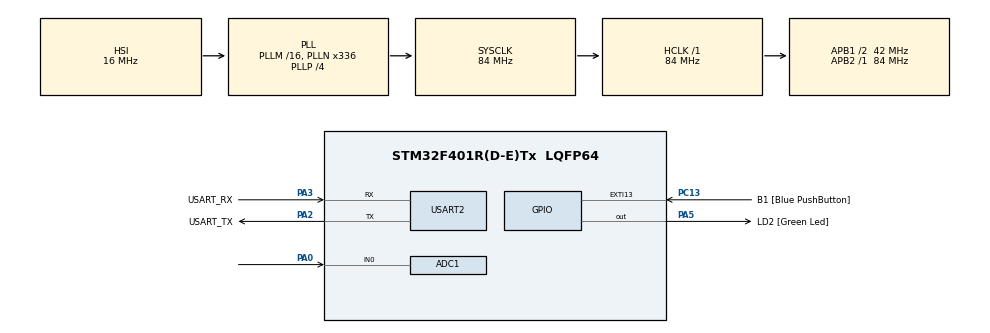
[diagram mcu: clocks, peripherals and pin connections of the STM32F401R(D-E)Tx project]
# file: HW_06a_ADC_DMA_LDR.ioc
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ADC1.Channel-0\#ChannelRegularConversion=ADC_CHANNEL_0
ADC1.DMAContinuousRequests=ENABLE
ADC1.ExternalTrigConv=ADC_EXTERNALTRIGCONV_T2_TRGO
ADC1.NbrOfConversionFlag=1
ADC1.Rank-0\#ChannelRegularConversion=1
ADC1.SamplingTime-0\#ChannelRegularConversion=ADC_SAMPLETIME_480CYCLES
ADC1.master=1
Dma.ADC1.0.Direction=DMA_PERIPH_TO_MEMORY
Dma.ADC1.0.FIFOMode=DMA_FIFOMODE_DISABLE
Dma.ADC1.0.Instance=DMA2_Stream0
Dma.ADC1.0.MemDataAlignment=DMA_MDATAALIGN_HALFWORD
Dma.ADC1.0.MemInc=DMA_MINC_ENABLE
Dma.ADC1.0.Mode=DMA_CIRCULAR
Dma.ADC1.0.PeriphDataAlignment=DMA_PDATAALIGN_HALFWORD
Dma.ADC1.0.PeriphInc=DMA_PINC_DISABLE
Dma.ADC1.0.Priority=DMA_PRIORITY_HIGH
Dma.Request0=ADC1
Dma.Request1=USART2_TX
Dma.USART2_TX.1.Direction=DMA_MEMORY_TO_PERIPH
Dma.USART2_TX.1.FIFOMode=DMA_FIFOMODE_DISABLE
Dma.USART2_TX.1.Instance=DMA1_Stream6
Dma.USART2_TX.1.MemDataAlignment=DMA_MDATAALIGN_BYTE
Dma.USART2_TX.1.MemInc=DMA_MINC_ENABLE
Dma.USART2_TX.1.Mode=DMA_NORMAL
Dma.USART2_TX.1.PeriphDataAlignment=DMA_PDATAALIGN_BYTE
Dma.USART2_TX.1.PeriphInc=DMA_PINC_DISABLE
Dma.USART2_TX.1.Priority=DMA_PRIORITY_HIGH
Mcu.Family=STM32F4
Mcu.Name=STM32F401R(D-E)Tx
Mcu.Package=LQFP64
NVIC.ADC_IRQn=true\:0\:0\:false\:false\:true\:true\:true\:true
NVIC.DMA1_Stream6_IRQn=true\:0\:0\:false\:false\:true\:false\:true\:true
NVIC.DMA2_Stream0_IRQn=true\:0\:0\:false\:false\:true\:false\:true\:true
NVIC.PriorityGroup=NVIC_PRIORITYGROUP_0
NVIC.USART2_IRQn=true\:0\:0\:false\:false\:true\:true\:true\:true
PA0-WKUP.Signal=ADCx_IN0
PA13.GPIO_Label=TMS
PA13.Mode=Serial_Wire
PA13.Signal=SYS_JTMS-SWDIO
PA14.GPIO_Label=TCK
PA14.Mode=Serial_Wire
PA14.Signal=SYS_JTCK-SWCLK
PA2.GPIO_Label=USART_TX
PA2.GPIO_Mode=GPIO_MODE_AF_PP
PA2.GPIO_PuPd=GPIO_NOPULL
PA2.GPIO_Speed=GPIO_SPEED_FREQ_LOW
PA2.Mode=Asynchronous
PA2.Signal=USART2_TX
PA3.GPIO_Label=USART_RX
PA3.GPIO_Mode=GPIO_MODE_AF_PP
PA3.GPIO_PuPd=GPIO_NOPULL
PA3.GPIO_Speed=GPIO_SPEED_FREQ_LOW
PA3.Mode=Asynchronous
PA3.Signal=USART2_RX
PA5.GPIO_Label=LD2 [Green Led]
PA5.GPIO_Mode=GPIO_MODE_OUTPUT_PP
PA5.GPIO_PuPd=GPIO_NOPULL
PA5.GPIO_Speed=GPIO_SPEED_FREQ_LOW
PA5.Signal=GPIO_Output
PB3.GPIO_Label=SWO
PB3.Signal=SYS_JTDO-SWO
PC13-ANTI_TAMP.GPIO_Label=B1 [Blue PushButton]
PC13-ANTI_TAMP.GPIO_ModeDefaultEXTI=GPIO_MODE_IT_FALLING
PC13-ANTI_TAMP.GPIO_PuPd=GPIO_NOPULL
PC13-ANTI_TAMP.Signal=GPXTI13
PC14-OSC32_IN.Mode=LSE-External-Oscillator
PC14-OSC32_IN.Signal=RCC_OSC32_IN
PC15-OSC32_OUT.Mode=LSE-External-Oscillator
PC15-OSC32_OUT.Signal=RCC_OSC32_OUT
PH0\ -\ OSC_IN.Mode=HSE-External-Clock-Source
PH0\ -\ OSC_IN.Signal=RCC_OSC_IN
PH1\ -\ OSC_OUT.Mode=HSE-External-Clock-Source
PH1\ -\ OSC_OUT.Signal=RCC_OSC_OUT
ProjectManager.HeapSize=0x200
ProjectManager.StackSize=0x400
ProjectManager.TargetToolchain=STM32CubeIDE
RCC.48MHZClocksFreq_Value=48000000
RCC.AHBFreq_Value=84000000
RCC.APB1CLKDivider=RCC_HCLK_DIV2
RCC.APB1Freq_Value=42000000
RCC.APB1TimFreq_Value=84000000
RCC.APB2Freq_Value=84000000
RCC.APB2TimFreq_Value=84000000
RCC.CortexFreq_Value=84000000
RCC.HCLKFreq_Value=84000000
RCC.HSE_VALUE=8000000
RCC.HSI_VALUE=16000000
RCC.PLLN=336
RCC.PLLP=RCC_PLLP_DIV4
RCC.PLLQ=7
RCC.SYSCLKFreq_VALUE=84000000
RCC.SYSCLKSource=RCC_SYSCLKSOURCE_PLLCLK
RCC.VCOOutputFreq_Value=336000000
SH.ADCx_IN0.0=ADC1_IN0,IN0
TIM2.Period=10-1
TIM2.Prescaler=8400-1
TIM2.TIM_MasterOutputTrigger=TIM_TRGO_UPDATE
USART2.VirtualMode=VM_ASYNC
VP_TIM2_VS_ClockSourceINT.Mode=Internal
board=NUCLEO-F401RE

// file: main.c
/* USER CODE BEGIN Header */
/**
  ******************************************************************************
  * @file           : main.c
  * @brief          : Main program body
  ******************************************************************************
  * @attention
  *
  * Copyright (c) 2024 STMicroelectronics.
  * All rights reserved.
  *
  * This software is licensed under terms that can be found in the LICENSE file
  * in the root directory of this software component.
  * If no LICENSE file comes with this software, it is provided AS-IS.
  *
  ******************************************************************************
  */
/* USER CODE END Header */
#include "main.h"

/* USER CODE BEGIN Includes */

#include "string.h"
#include "stdio.h"
#include "math.h"

/* USER CODE END Includes */

/* USER CODE BEGIN PD */

#define ACQUISITIONS 1000
#define LSB 3.3/4096.0
#define STR_LEN 64

/* USER CODE END PD */

ADC_HandleTypeDef hadc1;
DMA_HandleTypeDef hdma_adc1;

TIM_HandleTypeDef htim2;

UART_HandleTypeDef huart2;
DMA_HandleTypeDef hdma_usart2_tx;

/* USER CODE BEGIN PV */

uint16_t digital_data[ACQUISITIONS];		//store all ldr values sampled every ms
uint32_t digital_sum1 = 0;					//store sum of 1st 500 samples
uint32_t digital_sum2 = 0;					//store sum of 2nd 500 samples
uint32_t digital_average = 0;				//store ldr average value
float analog_voltage = 0;					//store analog voltage value (average)
float ldr = 0;	// in kOhm
float lux = 0;	// in lx
char string[STR_LEN];
int length;

/* USER CODE END PV */

void SystemClock_Config(void);
static void MX_GPIO_Init(void);
static void MX_DMA_Init(void);
static void MX_USART2_UART_Init(void);
static void MX_ADC1_Init(void);
static void MX_TIM2_Init(void);

/* USER CODE BEGIN 0 */

void HAL_ADC_ConvHalfCpltCallback (ADC_HandleTypeDef *hadc) {
	if (hadc == &hadc1) {
		digital_sum1 = 0;
		for (int i = 0; i < ACQUISITIONS/2; i++) {	//process here the 1st 500 samples
			digital_sum1 += digital_data[i];
		}
	}
}

void HAL_ADC_ConvCpltCallback (ADC_HandleTypeDef *hadc) {
	if (hadc == &hadc1) {
		digital_sum2 = 0;
		for (int i = ACQUISITIONS/2; i < ACQUISITIONS; i++) {	//process here the 2nd 500 samples
			digital_sum2 += digital_data[i];
		}
		digital_average = (digital_sum1 + digital_sum2)/ACQUISITIONS;	//compute the average
		analog_voltage = LSB*digital_average;
		ldr = (analog_voltage*100)/(3.3-analog_voltage);	//conversion V -> kOhm
		lux = 10*powf((100/ldr), 1.25);					    //conversion kOhm -> lx
		length = snprintf(string, sizeof(string), "LDR: %.3fkOhm  LUX: %.3flx\n", ldr, lux);
		HAL_UART_Transmit_DMA(&huart2, string, length);
	}
}

/* USER CODE END 0 */

int main(void)
{

  /* MCU Configuration--------------------------------------------------------*/

  /* Reset of all peripherals, Initializes the Flash interface and the Systick. */
  HAL_Init();

  /* Configure the system clock */
  SystemClock_Config();

  /* Initialize all configured peripherals */
  MX_GPIO_Init();
  MX_DMA_Init();
  MX_USART2_UART_Init();
  MX_ADC1_Init();
  MX_TIM2_Init();
  /* USER CODE BEGIN 2 */
  HAL_ADC_Start_DMA(&hadc1, digital_data, ACQUISITIONS);
  HAL_TIM_Base_Start(&htim2);
  /* USER CODE END 2 */

  /* Infinite loop */
  while (1)
  {

  }
}

void SystemClock_Config(void)
{
  RCC_OscInitTypeDef RCC_OscInitStruct = {0};
  RCC_ClkInitTypeDef RCC_ClkInitStruct = {0};

  /** Configure the main internal regulator output voltage
  */
  __HAL_RCC_PWR_CLK_ENABLE();
  __HAL_PWR_VOLTAGESCALING_CONFIG(PWR_REGULATOR_VOLTAGE_SCALE2);

  /** Initializes the RCC Oscillators according to the specified parameters
  * in the RCC_OscInitTypeDef structure.
  */
  RCC_OscInitStruct.OscillatorType = RCC_OSCILLATORTYPE_HSI;
  RCC_OscInitStruct.HSIState = RCC_HSI_ON;
  RCC_OscInitStruct.HSICalibrationValue = RCC_HSICALIBRATION_DEFAULT;
  RCC_OscInitStruct.PLL.PLLState = RCC_PLL_ON;
  RCC_OscInitStruct.PLL.PLLSource = RCC_PLLSOURCE_HSI;
  RCC_OscInitStruct.PLL.PLLM = 16;
  RCC_OscInitStruct.PLL.PLLN = 336;
  RCC_OscInitStruct.PLL.PLLP = RCC_PLLP_DIV4;
  RCC_OscInitStruct.PLL.PLLQ = 7;
  if (HAL_RCC_OscConfig(&RCC_OscInitStruct) != HAL_OK)
  {
    Error_Handler();
  }

  /** Initializes the CPU, AHB and APB buses clocks
  */
  RCC_ClkInitStruct.ClockType = RCC_CLOCKTYPE_HCLK|RCC_CLOCKTYPE_SYSCLK
                              |RCC_CLOCKTYPE_PCLK1|RCC_CLOCKTYPE_PCLK2;
  RCC_ClkInitStruct.SYSCLKSource = RCC_SYSCLKSOURCE_PLLCLK;
  RCC_ClkInitStruct.AHBCLKDivider = RCC_SYSCLK_DIV1;
  RCC_ClkInitStruct.APB1CLKDivider = RCC_HCLK_DIV2;
  RCC_ClkInitStruct.APB2CLKDivider = RCC_HCLK_DIV1;

  if (HAL_RCC_ClockConfig(&RCC_ClkInitStruct, FLASH_LATENCY_2) != HAL_OK)
  {
    Error_Handler();
  }
}

static void MX_ADC1_Init(void)
{

  ADC_ChannelConfTypeDef sConfig = {0};

  /** Configure the global features of the ADC (Clock, Resolution, Data Alignment and number of conversion)
  */
  hadc1.Instance = ADC1;
  hadc1.Init.ClockPrescaler = ADC_CLOCK_SYNC_PCLK_DIV4;
  hadc1.Init.Resolution = ADC_RESOLUTION_12B;
  hadc1.Init.ScanConvMode = DISABLE;
  hadc1.Init.ContinuousConvMode = DISABLE;
  hadc1.Init.DiscontinuousConvMode = DISABLE;
  hadc1.Init.ExternalTrigConvEdge = ADC_EXTERNALTRIGCONVEDGE_RISING;
  hadc1.Init.ExternalTrigConv = ADC_EXTERNALTRIGCONV_T2_TRGO;
  hadc1.Init.DataAlign = ADC_DATAALIGN_RIGHT;
  hadc1.Init.NbrOfConversion = 1;
  hadc1.Init.DMAContinuousRequests = ENABLE;
  hadc1.Init.EOCSelection = ADC_EOC_SINGLE_CONV;
  if (HAL_ADC_Init(&hadc1) != HAL_OK)
  {
    Error_Handler();
  }

  /** Configure for the selected ADC regular channel its corresponding rank in the sequencer and its sample time.
  */
  sConfig.Channel = ADC_CHANNEL_0;
  sConfig.Rank = 1;
  sConfig.SamplingTime = ADC_SAMPLETIME_480CYCLES;
  if (HAL_ADC_ConfigChannel(&hadc1, &sConfig) != HAL_OK)
  {
    Error_Handler();
  }

}

static void MX_TIM2_Init(void)
{

  TIM_ClockConfigTypeDef sClockSourceConfig = {0};
  TIM_MasterConfigTypeDef sMasterConfig = {0};

  htim2.Instance = TIM2;
  htim2.Init.Prescaler = 8400-1;
  htim2.Init.CounterMode = TIM_COUNTERMODE_UP;
  htim2.Init.Period = 10-1;
  htim2.Init.ClockDivision = TIM_CLOCKDIVISION_DIV1;
  htim2.Init.AutoReloadPreload = TIM_AUTORELOAD_PRELOAD_DISABLE;
  if (HAL_TIM_Base_Init(&htim2) != HAL_OK)
  {
    Error_Handler();
  }
  sClockSourceConfig.ClockSource = TIM_CLOCKSOURCE_INTERNAL;
  if (HAL_TIM_ConfigClockSource(&htim2, &sClockSourceConfig) != HAL_OK)
  {
    Error_Handler();
  }
  sMasterConfig.MasterOutputTrigger = TIM_TRGO_UPDATE;
  sMasterConfig.MasterSlaveMode = TIM_MASTERSLAVEMODE_DISABLE;
  if (HAL_TIMEx_MasterConfigSynchronization(&htim2, &sMasterConfig) != HAL_OK)
  {
    Error_Handler();
  }

}

static void MX_USART2_UART_Init(void)
{

  huart2.Instance = USART2;
  huart2.Init.BaudRate = 115200;
  huart2.Init.WordLength = UART_WORDLENGTH_8B;
  huart2.Init.StopBits = UART_STOPBITS_1;
  huart2.Init.Parity = UART_PARITY_NONE;
  huart2.Init.Mode = UART_MODE_TX_RX;
  huart2.Init.HwFlowCtl = UART_HWCONTROL_NONE;
  huart2.Init.OverSampling = UART_OVERSAMPLING_16;
  if (HAL_UART_Init(&huart2) != HAL_OK)
  {
    Error_Handler();
  }

}

static void MX_DMA_Init(void)
{

  /* DMA controller clock enable */
  __HAL_RCC_DMA2_CLK_ENABLE();
  __HAL_RCC_DMA1_CLK_ENABLE();

  /* DMA interrupt init */
  /* DMA1_Stream6_IRQn interrupt configuration */
  HAL_NVIC_SetPriority(DMA1_Stream6_IRQn, 0, 0);
  HAL_NVIC_EnableIRQ(DMA1_Stream6_IRQn);
  /* DMA2_Stream0_IRQn interrupt configuration */
  HAL_NVIC_SetPriority(DMA2_Stream0_IRQn, 0, 0);
  HAL_NVIC_EnableIRQ(DMA2_Stream0_IRQn);

}

static void MX_GPIO_Init(void)
{
  GPIO_InitTypeDef GPIO_InitStruct = {0};

  /* GPIO Ports Clock Enable */
  __HAL_RCC_GPIOC_CLK_ENABLE();
  __HAL_RCC_GPIOH_CLK_ENABLE();
  __HAL_RCC_GPIOA_CLK_ENABLE();
  __HAL_RCC_GPIOB_CLK_ENABLE();

  /*Configure GPIO pin Output Level */
  HAL_GPIO_WritePin(LD2_GPIO_Port, LD2_Pin, GPIO_PIN_RESET);

  /*Configure GPIO pin : B1_Pin */
  GPIO_InitStruct.Pin = B1_Pin;
  GPIO_InitStruct.Mode = GPIO_MODE_IT_FALLING;
  GPIO_InitStruct.Pull = GPIO_NOPULL;
  HAL_GPIO_Init(B1_GPIO_Port, &GPIO_InitStruct);

  /*Configure GPIO pin : LD2_Pin */
  GPIO_InitStruct.Pin = LD2_Pin;
  GPIO_InitStruct.Mode = GPIO_MODE_OUTPUT_PP;
  GPIO_InitStruct.Pull = GPIO_NOPULL;
  GPIO_InitStruct.Speed = GPIO_SPEED_FREQ_LOW;
  HAL_GPIO_Init(LD2_GPIO_Port, &GPIO_InitStruct);

}

void Error_Handler(void)
{
  __disable_irq();
  while (1)
  {
  }
}
